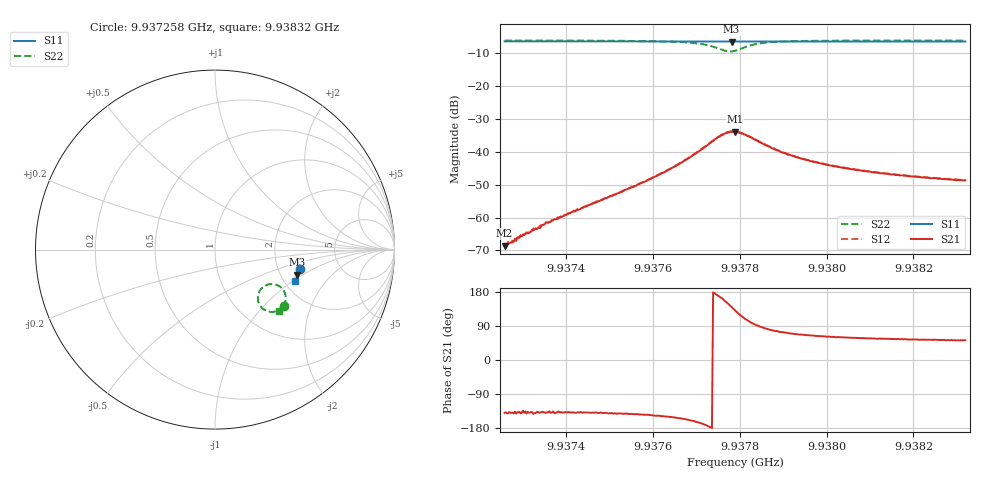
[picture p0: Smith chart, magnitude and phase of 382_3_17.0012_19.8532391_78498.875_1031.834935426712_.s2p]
#  HZ  S  RI  R  50.00
! Rohde & Schwarz Vector Network Analyzer
! Rohde-Schwarz,ZNB20-2Port,1311601062101988,3.16
! Created: UTC 3/20/2024, 11:09:12 PM
! freq[Hz]  re:S11  im:S11  re:S21  im:S21  re:S12  im:S12  re:S22  im:S22
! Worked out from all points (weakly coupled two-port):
!   401 points, 9.937258 GHz to 9.93832 GHz, reference 50 ohm
!   highest |S21| = -33.85 dB at 9.937789 GHz (marker M1); lowest = -68.5 dB at 9.937258 GHz (marker M2)
!   lowest |S11| = -6.4 dB at 9.937781 GHz (marker M3), VSWR 2.84, Z = 123 - j44.4 ohm
!   |S11| at or under -10 dB: nowhere
!   |S22| runs from -9.4 to -6.1 dB; largest |S21 - S12| = 0.00093
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9.9372579e9  0.472 -0.1055  -0.000284 -0.000245  -0.000297 -0.000243  0.3868 -0.3138
9.9372739e9  0.4717 -0.1067  -0.000319 -0.000272  -0.000318 -0.000276  0.3856 -0.3149
9.9372792e9  0.4717 -0.1069  -0.000344 -0.000281  -0.00031 -0.000295  0.3853 -0.3155
9.9372951e9  0.4714 -0.108  -0.000419 -0.000336  -0.00041 -0.000358  0.3841 -0.3166
9.9373349e9  0.4704 -0.1107  -0.000512 -0.000476  -0.000532 -0.00047  0.3812 -0.3193
9.9373509e9  0.47 -0.1117  -0.000606 -0.000522  -0.000605 -0.000526  0.3796 -0.3206
9.9374358e9  0.4684 -0.1174  -0.00105 -0.000943  -0.00105 -0.00094  0.3715 -0.3271
9.9375553e9  0.4656 -0.1256  -0.00233 -0.00178  -0.00244 -0.00176  0.3545 -0.3381
9.9376137e9  0.4642 -0.1294  -0.00374 -0.00246  -0.00384 -0.00243  0.3398 -0.3438
9.9376721e9  0.4627 -0.1334  -0.00666 -0.003  -0.00684 -0.00293  0.3131 -0.3473
9.9377199e9  0.4608 -0.1365  -0.0118 -0.0019  -0.0121 -0.00169  0.2719 -0.3332
9.9377412e9  0.4599 -0.1377  -0.0153 0.000918  -0.0154 0.0012  0.2486 -0.3077
9.9377598e9  0.4591 -0.1382  -0.0172 0.00547  -0.0174 0.00639  0.2387 -0.267
9.937781e9  0.4585 -0.1387  -0.0153 0.0131  -0.0154 0.0137  0.2635 -0.2125
9.937789e9  0.4587 -0.1388  -0.0134 0.0153  -0.0132 0.0159  0.283 -0.1993
9.9378076e9  0.4588 -0.1397  -0.00737 0.0174  -0.00705 0.0178  0.332 -0.1931
9.9378447e9  0.459 -0.1423  0.000284 0.0141  0.00058 0.0144  0.3841 -0.2308
9.9378978e9  0.4582 -0.1464  0.00274 0.00945  0.00311 0.00949  0.3944 -0.2741
9.9379669e9  0.4566 -0.1509  0.00307 0.00644  0.00324 0.00647  0.3886 -0.3009
9.9380465e9  0.4545 -0.1564  0.00283 0.0048  0.00301 0.00484  0.3806 -0.317
9.9381448e9  0.4518 -0.1627  0.00258 0.00379  0.00266 0.0038  0.3718 -0.329
9.93832e9  0.4468 -0.174  0.00226 0.00292  0.00234 0.00288  0.359 -0.3436
